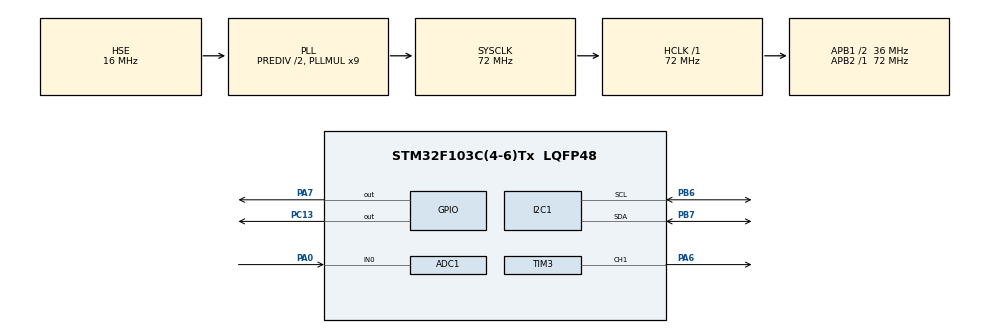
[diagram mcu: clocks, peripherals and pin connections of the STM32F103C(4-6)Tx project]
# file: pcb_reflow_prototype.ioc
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ADC1.Channel-0\#ChannelRegularConversion=ADC_CHANNEL_0
ADC1.ContinuousConvMode=ENABLE
ADC1.NbrOfConversionFlag=1
ADC1.Rank-0\#ChannelRegularConversion=1
ADC1.SamplingTime-0\#ChannelRegularConversion=ADC_SAMPLETIME_55CYCLES_5
ADC1.master=1
Dma.ADC1.0.Direction=DMA_PERIPH_TO_MEMORY
Dma.ADC1.0.Instance=DMA1_Channel1
Dma.ADC1.0.MemDataAlignment=DMA_MDATAALIGN_WORD
Dma.ADC1.0.MemInc=DMA_MINC_ENABLE
Dma.ADC1.0.Mode=DMA_CIRCULAR
Dma.ADC1.0.PeriphDataAlignment=DMA_PDATAALIGN_WORD
Dma.ADC1.0.PeriphInc=DMA_PINC_DISABLE
Dma.ADC1.0.Priority=DMA_PRIORITY_LOW
Dma.Request0=ADC1
I2C1.I2C_Mode=I2C_Fast
Mcu.Family=STM32F1
Mcu.Name=STM32F103C(4-6)Tx
Mcu.Package=LQFP48
NVIC.ADC1_2_IRQn=true\:0\:0\:false\:false\:true\:true\:true\:true
NVIC.DMA1_Channel1_IRQn=true\:0\:0\:false\:false\:true\:false\:true\:true
NVIC.PriorityGroup=NVIC_PRIORITYGROUP_4
NVIC.TIM2_IRQn=true\:0\:0\:false\:false\:true\:true\:true\:true
NVIC.TIM3_IRQn=true\:0\:0\:false\:false\:true\:true\:true\:true
PA0-WKUP.Signal=ADCx_IN0
PA13.Mode=Serial_Wire
PA13.Signal=SYS_JTMS-SWDIO
PA14.Mode=Serial_Wire
PA14.Signal=SYS_JTCK-SWCLK
PA6.Signal=S_TIM3_CH1
PA7.Signal=GPIO_Output
PB6.Mode=I2C
PB6.Signal=I2C1_SCL
PB7.Mode=I2C
PB7.Signal=I2C1_SDA
PC13-TAMPER-RTC.Signal=GPIO_Output
PD0-OSC_IN.Mode=HSE-External-Oscillator
PD0-OSC_IN.Signal=RCC_OSC_IN
PD1-OSC_OUT.Mode=HSE-External-Oscillator
PD1-OSC_OUT.Signal=RCC_OSC_OUT
ProjectManager.HeapSize=0x200
ProjectManager.StackSize=0x400
ProjectManager.TargetToolchain=STM32CubeIDE
RCC.ADCPresc=RCC_ADCPCLK2_DIV6
RCC.AHBFreq_Value=72000000
RCC.APB1CLKDivider=RCC_HCLK_DIV2
RCC.APB1Freq_Value=36000000
RCC.APB1TimFreq_Value=72000000
RCC.APB2Freq_Value=72000000
RCC.APB2TimFreq_Value=72000000
RCC.HCLKFreq_Value=72000000
RCC.HSEDivPLL=RCC_HSE_PREDIV_DIV2
RCC.HSE_VALUE=16000000
RCC.PLLMUL=RCC_PLL_MUL9
RCC.PLLSourceVirtual=RCC_PLLSOURCE_HSE
RCC.SYSCLKFreq_VALUE=72000000
RCC.SYSCLKSource=RCC_SYSCLKSOURCE_PLLCLK
RCC.USBFreq_Value=72000000
SH.ADCx_IN0.0=ADC1_IN0,IN0
SH.S_TIM3_CH1.0=TIM3_CH1,PWM Generation1 CH1
TIM2.AutoReloadPreload=TIM_AUTORELOAD_PRELOAD_ENABLE
TIM2.Period=57600-1
TIM2.Prescaler=125-1
TIM3.AutoReloadPreload=TIM_AUTORELOAD_PRELOAD_ENABLE
TIM3.Channel-PWM\ Generation1\ CH1=TIM_CHANNEL_1
TIM3.Period=45000-1
TIM3.Prescaler=320-1
VP_TIM2_VS_ClockSourceINT.Mode=Internal
VP_TIM3_VS_ClockSourceINT.Mode=Internal
board=custom

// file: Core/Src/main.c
/* USER CODE BEGIN Header */
/**
  ******************************************************************************
  * @file           : main.c
  * @brief          : Main program body
  ******************************************************************************
  * @attention
  *
  * Copyright (c) 2024 STMicroelectronics.
  * All rights reserved.
  *
  * This software is licensed under terms that can be found in the LICENSE file
  * in the root directory of this software component.
  * If no LICENSE file comes with this software, it is provided AS-IS.
  *
  ******************************************************************************
  */
/* USER CODE END Header */
#include "main.h"

/* USER CODE BEGIN Includes */
#include <math.h>
//#include <stdio.h>

#include "ssd1306.h"
#include "fonts.h"

/* USER CODE END Includes */

ADC_HandleTypeDef hadc1;
DMA_HandleTypeDef hdma_adc1;

I2C_HandleTypeDef hi2c1;

TIM_HandleTypeDef htim2;
TIM_HandleTypeDef htim3;

/* USER CODE BEGIN PV */

uint32_t ADC_Raw[1];

float Ntc_Tmp;
float Ntc_Tmp_Raw;
uint32_t Ntc_R;

float target_tmp = 200;

/* R1 resistance */
#define NTC_UP_R 100000.0f

#define FILTER_SMA_ORDER 15

/* constants of Steinhart-Hart equation */
#define A 0.0018937f
#define B -0.00003306639f
#define C 0.0000012931f

uint8_t Sch_100ms = 255;

uint8_t test_buffer[20];

uint16_t Filter_Buffer[FILTER_SMA_ORDER] = {0,};

volatile float P, I, D;

float Kp = 5;
float Ki = 0.001;
float Kd = 100;

volatile float pid_last_error;
volatile float pid_error;
volatile float pid_duty_cycle_change;

/* USER CODE END PV */

void SystemClock_Config(void);
static void MX_GPIO_Init(void);
static void MX_DMA_Init(void);
static void MX_TIM2_Init(void);
static void MX_I2C1_Init(void);
static void MX_ADC1_Init(void);
static void MX_TIM3_Init(void);
/* USER CODE BEGIN PFP */
#define SCREEN_HEIGHT 64
#define SCREEN_WIDTH 128
/* USER CODE END PFP */

/* USER CODE BEGIN 0 */

//typedef struct {
//
//	/* Controller gains */
//	float Kp;
//	float Ki;
//	float Kd;
//
//	/* Derivative low-pass filter time constant */
//	float tau;
//
//	/* Output limits */
//	float limMin;
//	float limMax;
//
//	/* Integrator limits */
//	float limMinInt;
//	float limMaxInt;
//
//	/* Sample time (in seconds) */
//	float T;
//
//	/* Controller "memory" */
//	float integrator;
//	float prevError;			/* Required for integrator */
//	float differentiator;
//	float prevMeasurement;		/* Required for differentiator */
//
//	/* Controller output */
//	float out;
//
//} PIDController;

void HAL_TIM_PeriodElapsedCallback(TIM_HandleTypeDef *htim)
{
 if(htim->Instance == TIM2)
	{
		/* set every 100ms */
		Sch_100ms = 255;
	}

}

void HAL_TIM_TriggerCallback(TIM_HandleTypeDef *htim){
	 if(htim->Instance == TIM3)
		{
		 HAL_GPIO_WritePin(GPIOA, GPIO_PIN_6, GPIO_PIN_SET);
		}
}

uint32_t Filter_SMA(uint32_t For_Filtered)
{
	/* Load new value */
	Filter_Buffer[FILTER_SMA_ORDER - 1] = For_Filtered;
	/* For output value */
	uint32_t Output = 0;
	/* Sum */
	for(uint8_t i = 0; i < FILTER_SMA_ORDER; i++)
	{
		Output += Filter_Buffer[i];
	}
	/* Divide */
	Output /= FILTER_SMA_ORDER;
	/* Left Shift */
	for(uint8_t i = 0; i < FILTER_SMA_ORDER; i++)
				Filter_Buffer[i] = Filter_Buffer[i+1];
	/* Return filtered value */
	return (uint32_t) Output;
}

void pwm_duty_cycle(uint8_t dc){

	htim3.Instance->CCR1 = ((float)(dc/100.0f))*(htim3.Instance->ARR);
}

void PID_control(volatile float *current_tmp, float target_tmp){

	pid_error = target_tmp - *current_tmp;

	P = pid_error;
	I = pid_error + I;
	D = pid_error - pid_last_error;
	pid_last_error = pid_error;
	pid_duty_cycle_change = P*Kp + I*Ki + D*Kd;

	if(pid_duty_cycle_change > 100){
		pid_duty_cycle_change = 100;
	}
	if(pid_duty_cycle_change < 0){
		pid_duty_cycle_change = 0;
	}

	pwm_duty_cycle(pid_duty_cycle_change);

}

//void PIDController_Init(PIDController *pid) {
//
//	/* Clear controller variables */
//	pid->integrator = 0.0f;
//	pid->prevError  = 0.0f;
//
//	pid->differentiator  = 0.0f;
//	pid->prevMeasurement = 0.0f;
//
//	pid->out = 0.0f;
//
//}
//
//float PIDController_Update(PIDController *pid, float setpoint, float measurement) {
//
//	/*
//	* Error signal
//	*/
//    float error = setpoint - measurement;
//
//
//	/*
//	* Proportional
//	*/
//    float proportional = pid->Kp * error;
//
//
//	/*
//	* Integral
//	*/
//    pid->integrator = pid->integrator + 0.5f * pid->Ki * pid->T * (error + pid->prevError);
//
//	/* Anti-wind-up via integrator clamping */
//    if (pid->integrator > pid->limMaxInt) {
//
//        pid->integrator = pid->limMaxInt;
//
//    } else if (pid->integrator < pid->limMinInt) {
//
//        pid->integrator = pid->limMinInt;
//
//    }
//
//
//	/*
//	* Derivative (band-limited differentiator)
//	*/
//
//    pid->differentiator = -(2.0f * pid->Kd * (measurement - pid->prevMeasurement)	/* Note: derivative on measurement, therefore minus sign in front of equation! */
//                        + (2.0f * pid->tau - pid->T) * pid->differentiator)
//                        / (2.0f * pid->tau + pid->T);
//
//
//	/*
//	* Compute output and apply limits
//	*/
//    pid->out = proportional + pid->integrator + pid->differentiator;
//
//    if (pid->out > pid->limMax) {
//
//        pid->out = pid->limMax;
//
//    } else if (pid->out < pid->limMin) {
//
//        pid->out = pid->limMin;
//
//    }
//
//	/* Store error and measurement for later use */
//    pid->prevError       = error;
//    pid->prevMeasurement = measurement;
//
//	/* Return controller output */
//    return pid->out;
//
//}

/* USER CODE END 0 */

int main(void)
{

  /* MCU Configuration--------------------------------------------------------*/

  /* Reset of all peripherals, Initializes the Flash interface and the Systick. */
  HAL_Init();

  /* Configure the system clock */
  SystemClock_Config();

  /* Initialize all configured peripherals */
  MX_GPIO_Init();
  MX_DMA_Init();
  MX_TIM2_Init();
  MX_I2C1_Init();
  MX_ADC1_Init();
  MX_TIM3_Init();
  /* USER CODE BEGIN 2 */

  SSD1306_Init();

  HAL_ADCEx_Calibration_Start(&hadc1);

  HAL_ADC_Start_DMA(&hadc1, ADC_Raw, 1);

  HAL_TIM_Base_Start_IT(&htim2);

  HAL_TIM_PWM_Start(&htim3, TIM_CHANNEL_1);

  /* USER CODE END 2 */

  /* Infinite loop */
  /* USER CODE BEGIN WHILE */
  while (1)
  {
		if(Sch_100ms){
			/* get adc value */
			//HAL_ADC_Start_IT(&hadc1);

			uint16_t Ntc_Temp_ADC = Filter_SMA(ADC_Raw[0]);
			/* calc. ntc resistance */
			Ntc_R = ((NTC_UP_R)/((4095.0/Ntc_Temp_ADC) - 1));

			/* temp */
			float Ntc_Ln = log(Ntc_R);
			/* calc. temperature */
			Ntc_Tmp = (1.0/(A + B*Ntc_Ln + C*Ntc_Ln*Ntc_Ln*Ntc_Ln)) - 273.15;
			HAL_GPIO_TogglePin(GPIOC, GPIO_PIN_13);
			/* nullify */
			Sch_100ms = 0;
		}
		HAL_GPIO_WritePin(GPIOA, GPIO_PIN_6, GPIO_PIN_RESET);
		PID_control(&Ntc_Tmp, target_tmp);
		 SSD1306_GotoXY(4, 10);
		 sprintf(test_buffer, "T: %d C ", Ntc_Tmp);
		 SSD1306_Puts(test_buffer, &Font_11x18, 1);

		 SSD1306_GotoXY(4, 30);
		 sprintf(test_buffer, "DC: %d ", Ntc_R);
		 SSD1306_Puts(test_buffer, &Font_11x18, 1);
//
//		 SSD1306_UpdateScreen();

    /* USER CODE END WHILE */

  }
}

void SystemClock_Config(void)
{
  RCC_OscInitTypeDef RCC_OscInitStruct = {0};
  RCC_ClkInitTypeDef RCC_ClkInitStruct = {0};
  RCC_PeriphCLKInitTypeDef PeriphClkInit = {0};

  /** Initializes the RCC Oscillators according to the specified parameters
  * in the RCC_OscInitTypeDef structure.
  */
  RCC_OscInitStruct.OscillatorType = RCC_OSCILLATORTYPE_HSE;
  RCC_OscInitStruct.HSEState = RCC_HSE_ON;
  RCC_OscInitStruct.HSEPredivValue = RCC_HSE_PREDIV_DIV2;
  RCC_OscInitStruct.HSIState = RCC_HSI_ON;
  RCC_OscInitStruct.PLL.PLLState = RCC_PLL_ON;
  RCC_OscInitStruct.PLL.PLLSource = RCC_PLLSOURCE_HSE;
  RCC_OscInitStruct.PLL.PLLMUL = RCC_PLL_MUL9;
  if (HAL_RCC_OscConfig(&RCC_OscInitStruct) != HAL_OK)
  {
    Error_Handler();
  }

  /** Initializes the CPU, AHB and APB buses clocks
  */
  RCC_ClkInitStruct.ClockType = RCC_CLOCKTYPE_HCLK|RCC_CLOCKTYPE_SYSCLK
                              |RCC_CLOCKTYPE_PCLK1|RCC_CLOCKTYPE_PCLK2;
  RCC_ClkInitStruct.SYSCLKSource = RCC_SYSCLKSOURCE_PLLCLK;
  RCC_ClkInitStruct.AHBCLKDivider = RCC_SYSCLK_DIV1;
  RCC_ClkInitStruct.APB1CLKDivider = RCC_HCLK_DIV2;
  RCC_ClkInitStruct.APB2CLKDivider = RCC_HCLK_DIV1;

  if (HAL_RCC_ClockConfig(&RCC_ClkInitStruct, FLASH_LATENCY_2) != HAL_OK)
  {
    Error_Handler();
  }
  PeriphClkInit.PeriphClockSelection = RCC_PERIPHCLK_ADC;
  PeriphClkInit.AdcClockSelection = RCC_ADCPCLK2_DIV6;
  if (HAL_RCCEx_PeriphCLKConfig(&PeriphClkInit) != HAL_OK)
  {
    Error_Handler();
  }
}

static void MX_ADC1_Init(void)
{

  ADC_ChannelConfTypeDef sConfig = {0};

  /** Common config
  */
  hadc1.Instance = ADC1;
  hadc1.Init.ScanConvMode = ADC_SCAN_DISABLE;
  hadc1.Init.ContinuousConvMode = ENABLE;
  hadc1.Init.DiscontinuousConvMode = DISABLE;
  hadc1.Init.ExternalTrigConv = ADC_SOFTWARE_START;
  hadc1.Init.DataAlign = ADC_DATAALIGN_RIGHT;
  hadc1.Init.NbrOfConversion = 1;
  if (HAL_ADC_Init(&hadc1) != HAL_OK)
  {
    Error_Handler();
  }

  /** Configure Regular Channel
  */
  sConfig.Channel = ADC_CHANNEL_0;
  sConfig.Rank = ADC_REGULAR_RANK_1;
  sConfig.SamplingTime = ADC_SAMPLETIME_55CYCLES_5;
  if (HAL_ADC_ConfigChannel(&hadc1, &sConfig) != HAL_OK)
  {
    Error_Handler();
  }

}

static void MX_I2C1_Init(void)
{

  hi2c1.Instance = I2C1;
  hi2c1.Init.ClockSpeed = 400000;
  hi2c1.Init.DutyCycle = I2C_DUTYCYCLE_2;
  hi2c1.Init.OwnAddress1 = 0;
  hi2c1.Init.AddressingMode = I2C_ADDRESSINGMODE_7BIT;
  hi2c1.Init.DualAddressMode = I2C_DUALADDRESS_DISABLE;
  hi2c1.Init.OwnAddress2 = 0;
  hi2c1.Init.GeneralCallMode = I2C_GENERALCALL_DISABLE;
  hi2c1.Init.NoStretchMode = I2C_NOSTRETCH_DISABLE;
  if (HAL_I2C_Init(&hi2c1) != HAL_OK)
  {
    Error_Handler();
  }

}

static void MX_TIM2_Init(void)
{

  TIM_ClockConfigTypeDef sClockSourceConfig = {0};
  TIM_MasterConfigTypeDef sMasterConfig = {0};

  htim2.Instance = TIM2;
  htim2.Init.Prescaler = 125-1;
  htim2.Init.CounterMode = TIM_COUNTERMODE_UP;
  htim2.Init.Period = 57600-1;
  htim2.Init.ClockDivision = TIM_CLOCKDIVISION_DIV1;
  htim2.Init.AutoReloadPreload = TIM_AUTORELOAD_PRELOAD_ENABLE;
  if (HAL_TIM_Base_Init(&htim2) != HAL_OK)
  {
    Error_Handler();
  }
  sClockSourceConfig.ClockSource = TIM_CLOCKSOURCE_INTERNAL;
  if (HAL_TIM_ConfigClockSource(&htim2, &sClockSourceConfig) != HAL_OK)
  {
    Error_Handler();
  }
  sMasterConfig.MasterOutputTrigger = TIM_TRGO_RESET;
  sMasterConfig.MasterSlaveMode = TIM_MASTERSLAVEMODE_DISABLE;
  if (HAL_TIMEx_MasterConfigSynchronization(&htim2, &sMasterConfig) != HAL_OK)
  {
    Error_Handler();
  }

}

static void MX_TIM3_Init(void)
{

  TIM_ClockConfigTypeDef sClockSourceConfig = {0};
  TIM_MasterConfigTypeDef sMasterConfig = {0};
  TIM_OC_InitTypeDef sConfigOC = {0};

  htim3.Instance = TIM3;
  htim3.Init.Prescaler = 320-1;
  htim3.Init.CounterMode = TIM_COUNTERMODE_UP;
  htim3.Init.Period = 45000-1;
  htim3.Init.ClockDivision = TIM_CLOCKDIVISION_DIV1;
  htim3.Init.AutoReloadPreload = TIM_AUTORELOAD_PRELOAD_ENABLE;
  if (HAL_TIM_Base_Init(&htim3) != HAL_OK)
  {
    Error_Handler();
  }
  sClockSourceConfig.ClockSource = TIM_CLOCKSOURCE_INTERNAL;
  if (HAL_TIM_ConfigClockSource(&htim3, &sClockSourceConfig) != HAL_OK)
  {
    Error_Handler();
  }
  if (HAL_TIM_PWM_Init(&htim3) != HAL_OK)
  {
    Error_Handler();
  }
  sMasterConfig.MasterOutputTrigger = TIM_TRGO_RESET;
  sMasterConfig.MasterSlaveMode = TIM_MASTERSLAVEMODE_DISABLE;
  if (HAL_TIMEx_MasterConfigSynchronization(&htim3, &sMasterConfig) != HAL_OK)
  {
    Error_Handler();
  }
  sConfigOC.OCMode = TIM_OCMODE_PWM1;
  sConfigOC.Pulse = 0;
  sConfigOC.OCPolarity = TIM_OCPOLARITY_HIGH;
  sConfigOC.OCFastMode = TIM_OCFAST_DISABLE;
  if (HAL_TIM_PWM_ConfigChannel(&htim3, &sConfigOC, TIM_CHANNEL_1) != HAL_OK)
  {
    Error_Handler();
  }
  HAL_TIM_MspPostInit(&htim3);

}

static void MX_DMA_Init(void)
{

  /* DMA controller clock enable */
  __HAL_RCC_DMA1_CLK_ENABLE();

  /* DMA interrupt init */
  /* DMA1_Channel1_IRQn interrupt configuration */
  HAL_NVIC_SetPriority(DMA1_Channel1_IRQn, 0, 0);
  HAL_NVIC_EnableIRQ(DMA1_Channel1_IRQn);

}

static void MX_GPIO_Init(void)
{
  GPIO_InitTypeDef GPIO_InitStruct = {0};

  /* GPIO Ports Clock Enable */
  __HAL_RCC_GPIOC_CLK_ENABLE();
  __HAL_RCC_GPIOD_CLK_ENABLE();
  __HAL_RCC_GPIOA_CLK_ENABLE();
  __HAL_RCC_GPIOB_CLK_ENABLE();

  /*Configure GPIO pin Output Level */
  HAL_GPIO_WritePin(GPIOC, GPIO_PIN_13, GPIO_PIN_RESET);

  /*Configure GPIO pin Output Level */
  HAL_GPIO_WritePin(GPIOA, GPIO_PIN_7, GPIO_PIN_RESET);

  /*Configure GPIO pin : PC13 */
  GPIO_InitStruct.Pin = GPIO_PIN_13;
  GPIO_InitStruct.Mode = GPIO_MODE_OUTPUT_PP;
  GPIO_InitStruct.Pull = GPIO_NOPULL;
  GPIO_InitStruct.Speed = GPIO_SPEED_FREQ_LOW;
  HAL_GPIO_Init(GPIOC, &GPIO_InitStruct);

  /*Configure GPIO pin : PA7 */
  GPIO_InitStruct.Pin = GPIO_PIN_7;
  GPIO_InitStruct.Mode = GPIO_MODE_OUTPUT_PP;
  GPIO_InitStruct.Pull = GPIO_NOPULL;
  GPIO_InitStruct.Speed = GPIO_SPEED_FREQ_LOW;
  HAL_GPIO_Init(GPIOA, &GPIO_InitStruct);

}

void Error_Handler(void)
{
  __disable_irq();
  while (1)
  {
  }
}
